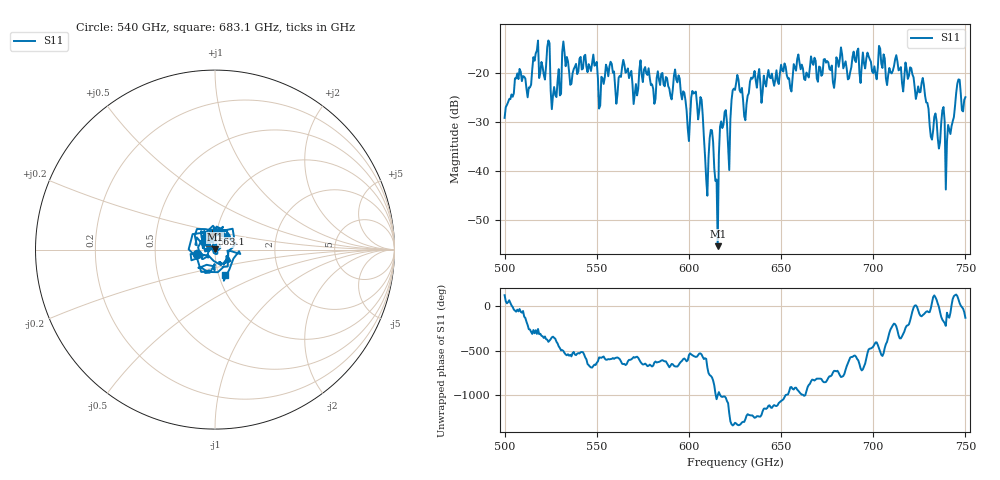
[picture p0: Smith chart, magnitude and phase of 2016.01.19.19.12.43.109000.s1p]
!Created with skrf (http://scikit-rf.org).
# GHz S RI R 50.0
!freq ReS11 ImS11
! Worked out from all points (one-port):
!   401 points, 500 GHz to 750 GHz, reference 50 ohm
!   lowest |S11| = -55.3 dB at 615.6 GHz (marker M1), VSWR 1.00, Z = 50 + j0.17 ohm
!   |S11| at or under -10 dB: start of sweep to end of sweep
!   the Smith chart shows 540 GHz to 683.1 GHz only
!   S11 on the Smith chart (normalised r, x): 540 GHz: 0.82, -0.04; 563.1 GHz: 0.95, +0.17; 683.1 GHz: 1.07, -0.31
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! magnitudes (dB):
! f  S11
! 500 GHz  -29.2
! 507.5 GHz  -21.3
! 513.1 GHz  -23.0
! 516.9 GHz  -16.1
! 523.8 GHz  -13.5
! 526.9 GHz  -22.9
! 531.2 GHz  -15.8
! 540 GHz  -19.8
! 562.5 GHz  -20.7
! 563.1 GHz  -20.9
! 593.8 GHz  -22.0
! 599.4 GHz  -31.4
! 606.2 GHz  -25.0
! 609.4 GHz  -41.7
! 611.9 GHz  -31.7
! 615.6 GHz  -55.3
! 618.1 GHz  -31.3
! 621.9 GHz  -39.8
! 625 GHz  -23.5
! 630.6 GHz  -29.7
! 634.4 GHz  -21.2
! 656.2 GHz  -21.2
! 683.1 GHz  -16.4
! 687.5 GHz  -19.9
! 718.8 GHz  -21.3
! 740.6 GHz  -30.6
! 745.6 GHz  -22.2
! 750 GHz  -25.0
